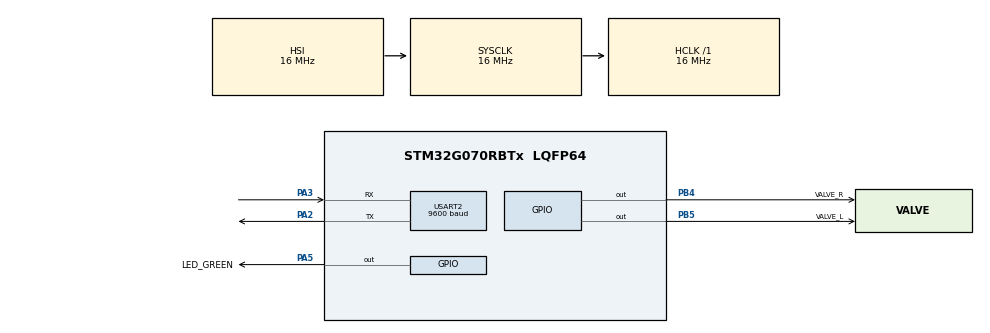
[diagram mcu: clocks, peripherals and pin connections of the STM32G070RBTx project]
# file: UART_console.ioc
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Dma.Request0=USART2_RX
Dma.USART2_RX.0.Direction=DMA_PERIPH_TO_MEMORY
Dma.USART2_RX.0.EventEnable=DISABLE
Dma.USART2_RX.0.Instance=DMA1_Channel1
Dma.USART2_RX.0.MemDataAlignment=DMA_MDATAALIGN_BYTE
Dma.USART2_RX.0.MemInc=DMA_MINC_ENABLE
Dma.USART2_RX.0.Mode=DMA_CIRCULAR
Dma.USART2_RX.0.PeriphDataAlignment=DMA_PDATAALIGN_BYTE
Dma.USART2_RX.0.PeriphInc=DMA_PINC_DISABLE
Dma.USART2_RX.0.Polarity=HAL_DMAMUX_REQ_GEN_RISING
Dma.USART2_RX.0.Priority=DMA_PRIORITY_LOW
Dma.USART2_RX.0.RequestNumber=1
Dma.USART2_RX.0.SignalID=NONE
Dma.USART2_RX.0.SyncEnable=DISABLE
Dma.USART2_RX.0.SyncPolarity=HAL_DMAMUX_SYNC_NO_EVENT
Dma.USART2_RX.0.SyncRequestNumber=1
Dma.USART2_RX.0.SyncSignalID=NONE
Mcu.Family=STM32G0
Mcu.Name=STM32G070RBTx
Mcu.Package=LQFP64
NVIC.DMA1_Channel1_IRQn=true\:0\:0\:false\:false\:true\:false\:true\:true
PA13.GPIO_Label=TMS
PA13.Mode=Serial_Wire
PA13.Signal=SYS_SWDIO
PA14-BOOT0.GPIO_Label=TCK
PA14-BOOT0.Mode=Serial_Wire
PA14-BOOT0.Signal=SYS_SWCLK
PA2.GPIO_PuPd=GPIO_PULLUP
PA2.Mode=Asynchronous
PA2.Signal=USART2_TX
PA3.GPIO_PuPd=GPIO_PULLUP
PA3.Mode=Asynchronous
PA3.Signal=USART2_RX
PA5.GPIO_Label=LED_GREEN
PA5.GPIO_Speed=GPIO_SPEED_FREQ_HIGH
PA5.Signal=GPIO_Output
PB4.GPIO_Label=VALVE_R
PB4.Signal=GPIO_Output
PB5.GPIO_Label=VALVE_L
PB5.Signal=GPIO_Output
PC13.Mode=SYS_WakeUp1
PC13.Signal=SYS_WKUP2
PC14-OSC32_IN\ (PC14).Mode=LSE-External-Oscillator
PC14-OSC32_IN\ (PC14).Signal=RCC_OSC32_IN
PC15-OSC32_OUT\ (PC15).Mode=LSE-External-Oscillator
PC15-OSC32_OUT\ (PC15).Signal=RCC_OSC32_OUT
PF0-OSC_IN\ (PF0).GPIO_Label=MCO
PF0-OSC_IN\ (PF0).Mode=HSE-External-Clock-Source
PF0-OSC_IN\ (PF0).Signal=RCC_OSC_IN
ProjectManager.HeapSize=0x200
ProjectManager.StackSize=0x400
ProjectManager.TargetToolchain=STM32CubeIDE
RCC.AHBFreq_Value=16000000
RCC.CortexFreq_Value=16000000
RCC.EXTERNAL_CLOCK_VALUE=12288000
RCC.HCLKFreq_Value=16000000
RCC.HSE_VALUE=8000000
RCC.HSI_VALUE=16000000
RCC.SYSCLKFreq_VALUE=16000000
RCC.VCOOutputFreq_Value=128000000
USART2.BaudRate=9600
USART2.VirtualMode-Asynchronous=VM_ASYNC
USART2.WordLength=WORDLENGTH_8B
board=NUCLEO-G070RB

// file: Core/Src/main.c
/* USER CODE BEGIN Header */
/**
 ******************************************************************************
 * @file           : main.c
 * @brief          : Main program body
 ******************************************************************************
 * @attention
 *
 * Copyright (c) 2026 STMicroelectronics.
 * All rights reserved.
 *
 * This software is licensed under terms that can be found in the LICENSE file
 * in the root directory of this software component.
 * If no LICENSE file comes with this software, it is provided AS-IS.
 *
 ******************************************************************************
 */
/* USER CODE END Header */
#include "main.h"

/* USER CODE BEGIN Includes */
#include "cmd_processing.h"
#include "loop_fcn.h"
#include <stdio.h>
/* USER CODE END Includes */

/* USER CODE BEGIN PD */
#define RX_BUFFER_LEN 64
#define uart_rx_write_ptr (RX_BUFFER_LEN - hdma_usart2_rx.Instance->CNDTR)

/* USER CODE END PD */

UART_HandleTypeDef huart2;
DMA_HandleTypeDef hdma_usart2_rx;

/* USER CODE BEGIN PV */
static uint8_t uart_rx_buf[RX_BUFFER_LEN];
static volatile uint16_t uart_rx_read_ptr = 0;

sensor_data_t measured_data;
settings_t    set_data;
/* USER CODE END PV */

void SystemClock_Config(void);
static void MX_GPIO_Init(void);
static void MX_DMA_Init(void);
static void MX_USART2_UART_Init(void);
/* USER CODE BEGIN PFP */
void setting_init(void);
void valve_init(void);

/* USER CODE END PFP */

/* USER CODE BEGIN 0 */
int _write(int file, char const *buf, int n)
{
    /* stdout redirection to UART2 */
    HAL_UART_Transmit(&huart2, (uint8_t*)(buf), n, HAL_MAX_DELAY);
    return n;
}

void setting_init(void)
{
	/* Default data */
	set_data.angle  = 90; // 90 deg
	set_data.time_a = 10; // 10 * 0.1 = 1 sec
	set_data.time_v = 20; // 20us
	set_data.home[0] = 0;
	set_data.home[1] = 0;
}

void valve_init(void)
{
	// Valves are closed by default
	HAL_GPIO_WritePin(VALVE_L_GPIO_Port, VALVE_L_Pin, 0);
	HAL_GPIO_WritePin(VALVE_R_GPIO_Port, VALVE_R_Pin, 0);
}

/* USER CODE END 0 */

int main(void)
{

  /* USER CODE BEGIN 1 */
	uint32_t cmd_reg = 0;

	setting_init();
	valve_init();

  /* USER CODE END 1 */

  /* MCU Configuration--------------------------------------------------------*/

  /* Reset of all peripherals, Initializes the Flash interface and the Systick. */
  HAL_Init();

  /* Configure the system clock */
  SystemClock_Config();

  /* Initialize all configured peripherals */
  MX_GPIO_Init();
  MX_DMA_Init();
  MX_USART2_UART_Init();
  /* USER CODE BEGIN 2 */
  HAL_UART_Receive_DMA(&huart2, uart_rx_buf, RX_BUFFER_LEN);

  /* USER CODE END 2 */

  /* Infinite loop */
  /* USER CODE BEGIN WHILE */

	while (1)
	{
		while (uart_rx_read_ptr != uart_rx_write_ptr)
		{
			uint8_t b = uart_rx_buf[uart_rx_read_ptr];
			// increase read pointer
			if (++uart_rx_read_ptr >= RX_BUFFER_LEN)
				{
				uart_rx_read_ptr = 0;
				}
				// process every received byte with the RX state machine
			uart_byte_available(b, &cmd_reg);

		}

		autoread_fcn(cmd_reg);
		valve_fcn(&cmd_reg);
		regul_fcn(&cmd_reg);

    /* USER CODE END WHILE */

	}
}

void SystemClock_Config(void)
{
  RCC_OscInitTypeDef RCC_OscInitStruct = {0};
  RCC_ClkInitTypeDef RCC_ClkInitStruct = {0};

  /** Configure the main internal regulator output voltage
  */
  HAL_PWREx_ControlVoltageScaling(PWR_REGULATOR_VOLTAGE_SCALE1);

  /** Initializes the RCC Oscillators according to the specified parameters
  * in the RCC_OscInitTypeDef structure.
  */
  RCC_OscInitStruct.OscillatorType = RCC_OSCILLATORTYPE_HSI;
  RCC_OscInitStruct.HSIState = RCC_HSI_ON;
  RCC_OscInitStruct.HSIDiv = RCC_HSI_DIV1;
  RCC_OscInitStruct.HSICalibrationValue = RCC_HSICALIBRATION_DEFAULT;
  RCC_OscInitStruct.PLL.PLLState = RCC_PLL_NONE;
  if (HAL_RCC_OscConfig(&RCC_OscInitStruct) != HAL_OK)
  {
    Error_Handler();
  }

  /** Initializes the CPU, AHB and APB buses clocks
  */
  RCC_ClkInitStruct.ClockType = RCC_CLOCKTYPE_HCLK|RCC_CLOCKTYPE_SYSCLK
                              |RCC_CLOCKTYPE_PCLK1;
  RCC_ClkInitStruct.SYSCLKSource = RCC_SYSCLKSOURCE_HSI;
  RCC_ClkInitStruct.AHBCLKDivider = RCC_SYSCLK_DIV1;
  RCC_ClkInitStruct.APB1CLKDivider = RCC_HCLK_DIV1;

  if (HAL_RCC_ClockConfig(&RCC_ClkInitStruct, FLASH_LATENCY_0) != HAL_OK)
  {
    Error_Handler();
  }
}

static void MX_USART2_UART_Init(void)
{

  huart2.Instance = USART2;
  huart2.Init.BaudRate = 9600;
  huart2.Init.WordLength = UART_WORDLENGTH_8B;
  huart2.Init.StopBits = UART_STOPBITS_1;
  huart2.Init.Parity = UART_PARITY_NONE;
  huart2.Init.Mode = UART_MODE_TX_RX;
  huart2.Init.HwFlowCtl = UART_HWCONTROL_NONE;
  huart2.Init.OverSampling = UART_OVERSAMPLING_16;
  huart2.Init.OneBitSampling = UART_ONE_BIT_SAMPLE_DISABLE;
  huart2.Init.ClockPrescaler = UART_PRESCALER_DIV1;
  huart2.AdvancedInit.AdvFeatureInit = UART_ADVFEATURE_NO_INIT;
  if (HAL_UART_Init(&huart2) != HAL_OK)
  {
    Error_Handler();
  }
  if (HAL_UARTEx_SetTxFifoThreshold(&huart2, UART_TXFIFO_THRESHOLD_1_8) != HAL_OK)
  {
    Error_Handler();
  }
  if (HAL_UARTEx_SetRxFifoThreshold(&huart2, UART_RXFIFO_THRESHOLD_1_8) != HAL_OK)
  {
    Error_Handler();
  }
  if (HAL_UARTEx_DisableFifoMode(&huart2) != HAL_OK)
  {
    Error_Handler();
  }

}

static void MX_DMA_Init(void)
{

  /* DMA controller clock enable */
  __HAL_RCC_DMA1_CLK_ENABLE();

  /* DMA interrupt init */
  /* DMA1_Channel1_IRQn interrupt configuration */
  HAL_NVIC_SetPriority(DMA1_Channel1_IRQn, 0, 0);
  HAL_NVIC_EnableIRQ(DMA1_Channel1_IRQn);

}

static void MX_GPIO_Init(void)
{
  GPIO_InitTypeDef GPIO_InitStruct = {0};

  /* GPIO Ports Clock Enable */
  __HAL_RCC_GPIOC_CLK_ENABLE();
  __HAL_RCC_GPIOF_CLK_ENABLE();
  __HAL_RCC_GPIOA_CLK_ENABLE();
  __HAL_RCC_GPIOB_CLK_ENABLE();

  /*Configure GPIO pin Output Level */
  HAL_GPIO_WritePin(LED_GREEN_GPIO_Port, LED_GREEN_Pin, GPIO_PIN_RESET);

  /*Configure GPIO pin Output Level */
  HAL_GPIO_WritePin(GPIOB, VALVE_R_Pin|VALVE_L_Pin, GPIO_PIN_RESET);

  /*Configure GPIO pin : LED_GREEN_Pin */
  GPIO_InitStruct.Pin = LED_GREEN_Pin;
  GPIO_InitStruct.Mode = GPIO_MODE_OUTPUT_PP;
  GPIO_InitStruct.Pull = GPIO_NOPULL;
  GPIO_InitStruct.Speed = GPIO_SPEED_FREQ_HIGH;
  HAL_GPIO_Init(LED_GREEN_GPIO_Port, &GPIO_InitStruct);

  /*Configure GPIO pins : VALVE_R_Pin VALVE_L_Pin */
  GPIO_InitStruct.Pin = VALVE_R_Pin|VALVE_L_Pin;
  GPIO_InitStruct.Mode = GPIO_MODE_OUTPUT_PP;
  GPIO_InitStruct.Pull = GPIO_NOPULL;
  GPIO_InitStruct.Speed = GPIO_SPEED_FREQ_LOW;
  HAL_GPIO_Init(GPIOB, &GPIO_InitStruct);

}

void Error_Handler(void)
{
	__disable_irq();
	while (1)
	{
	}
}
